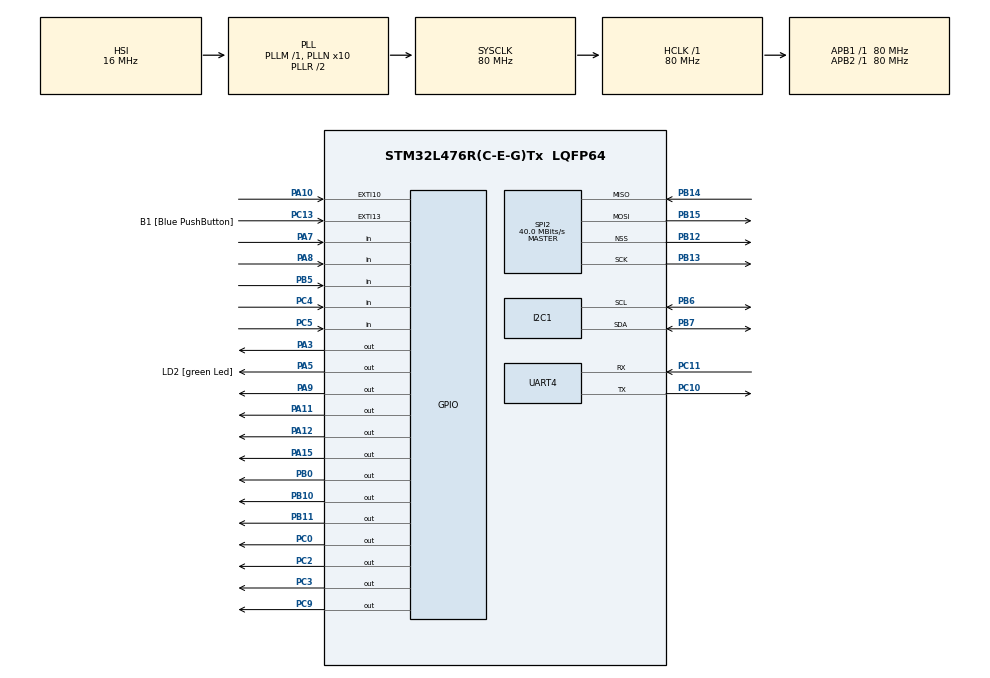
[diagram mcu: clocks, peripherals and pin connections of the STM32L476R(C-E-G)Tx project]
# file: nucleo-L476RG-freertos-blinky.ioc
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FREERTOS.Tasks01=OBC,24,4048,StartOBC,Default,NULL,Dynamic,NULL,NULL;COMMS,24,4048,StartCOMMS,Default,NULL,Dynamic,NULL,NULL;ADCS,24,4048,StartADCS,Default,NULL,Dynamic,NULL,NULL
FREERTOS.configENABLE_FPU=0
FREERTOS.configTOTAL_HEAP_SIZE=70480
FREERTOS.configUSE_NEWLIB_REENTRANT=1
I2C1.Timing=0x10909CEC
IWDG.Prescaler=IWDG_PRESCALER_256
Mcu.Family=STM32L4
Mcu.Name=STM32L476R(C-E-G)Tx
Mcu.Package=LQFP64
NVIC.PriorityGroup=NVIC_PRIORITYGROUP_4
NVIC.TIM6_DAC_IRQn=true\:15\:0\:false\:false\:true\:false\:false\:true\:true
NVIC.TimeBase=TIM6_DAC_IRQn
NVIC.TimeBaseIP=TIM6
PA10.Signal=GPXTI10
PA11.Signal=GPIO_Output
PA12.Signal=GPIO_Output
PA13\ (JTMS-SWDIO).GPIO_Label=TMS
PA13\ (JTMS-SWDIO).Mode=Serial_Wire
PA13\ (JTMS-SWDIO).Signal=SYS_JTMS-SWDIO
PA14\ (JTCK-SWCLK).GPIO_Label=TCK
PA14\ (JTCK-SWCLK).Mode=Serial_Wire
PA14\ (JTCK-SWCLK).Signal=SYS_JTCK-SWCLK
PA15\ (JTDI).Signal=GPIO_Output
PA3.Signal=GPIO_Output
PA5.GPIO_Label=LD2 [green Led]
PA5.GPIO_ModeDefaultOutputPP=GPIO_MODE_OUTPUT_PP
PA5.GPIO_PuPd=GPIO_NOPULL
PA5.GPIO_Speed=GPIO_SPEED_FREQ_LOW
PA5.Signal=GPIO_Output
PA7.Signal=GPIO_Input
PA8.Signal=GPIO_Input
PA9.Signal=GPIO_Output
PB0.Signal=GPIO_Output
PB10.Signal=GPIO_Output
PB11.Signal=GPIO_Output
PB12.Mode=NSS_Signal_Hard_Output
PB12.Signal=SPI2_NSS
PB13.Mode=Full_Duplex_Master
PB13.Signal=SPI2_SCK
PB14.Mode=Full_Duplex_Master
PB14.Signal=SPI2_MISO
PB15.Mode=Full_Duplex_Master
PB15.Signal=SPI2_MOSI
PB3\ (JTDO-TRACESWO).GPIO_Label=SWO
PB3\ (JTDO-TRACESWO).Signal=SYS_JTDO-SWO
PB5.Signal=GPIO_Input
PB6.Mode=I2C
PB6.Signal=I2C1_SCL
PB7.Mode=I2C
PB7.Signal=I2C1_SDA
PC0.Signal=GPIO_Output
PC10.Mode=Asynchronous
PC10.Signal=UART4_TX
PC11.Mode=Asynchronous
PC11.Signal=UART4_RX
PC13.GPIO_Label=B1 [Blue PushButton]
PC13.GPIO_ModeDefaultEXTI=GPIO_MODE_IT_FALLING
PC13.GPIO_PuPd=GPIO_NOPULL
PC13.Signal=GPXTI13
PC14-OSC32_IN\ (PC14).Mode=LSE-External-Oscillator
PC14-OSC32_IN\ (PC14).Signal=RCC_OSC32_IN
PC15-OSC32_OUT\ (PC15).Mode=LSE-External-Oscillator
PC15-OSC32_OUT\ (PC15).Signal=RCC_OSC32_OUT
PC2.Signal=GPIO_Output
PC3.Signal=GPIO_Output
PC4.Signal=GPIO_Input
PC5.Signal=GPIO_Input
PC9.Signal=GPIO_Output
PH0-OSC_IN\ (PH0).Signal=RCC_OSC_IN
PH1-OSC_OUT\ (PH1).Signal=RCC_OSC_OUT
ProjectManager.HeapSize=0x200
ProjectManager.StackSize=0x400
ProjectManager.TargetToolchain=STM32CubeIDE
RCC.ADCFreq_Value=64000000
RCC.AHBFreq_Value=80000000
RCC.APB1Freq_Value=80000000
RCC.APB1TimFreq_Value=80000000
RCC.APB2Freq_Value=80000000
RCC.APB2TimFreq_Value=80000000
RCC.CortexFreq_Value=80000000
RCC.HCLKFreq_Value=80000000
RCC.HSE_VALUE=8000000
RCC.HSI_VALUE=16000000
RCC.MSI_VALUE=4000000
RCC.PLLN=10
RCC.PLLSourceVirtual=RCC_PLLSOURCE_HSI
RCC.PREFETCH_ENABLE=1
RCC.SYSCLKFreq_VALUE=80000000
RCC.SYSCLKSource=RCC_SYSCLKSOURCE_PLLCLK
RCC.USBFreq_Value=64000000
RCC.VCOOutputFreq_Value=160000000
SPI2.CalculateBaudRate=40.0 MBits/s
SPI2.Direction=SPI_DIRECTION_2LINES
SPI2.Mode=SPI_MODE_MASTER
SPI2.VirtualNSS=VM_NSSHARD
SPI2.VirtualType=VM_MASTER
VP_FREERTOS_VS_CMSIS_V2.Mode=CMSIS_V2
VP_IWDG_VS_IWDG.Mode=IWDG_Activate
VP_RTC_VS_RTC_Activate.Mode=RTC_Enabled
VP_SYS_VS_tim6.Mode=TIM6
board=NUCLEO-L476RG

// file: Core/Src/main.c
/* USER CODE BEGIN Header */
/**
 ******************************************************************************
 * @file           : main.c
 * @brief          : Main program body
 ******************************************************************************
 * @attention
 *
 * Copyright (c) 2022 STMicroelectronics.
 * All rights reserved.
 *
 * This software is licensed under terms that can be found in the LICENSE file
 * in the root directory of this software component.
 * If no LICENSE file comes with this software, it is provided AS-IS.
 *
 ******************************************************************************
 */
/* USER CODE END Header */
#include "main.h"
#include "cmsis_os.h"

I2C_HandleTypeDef hi2c1;

IWDG_HandleTypeDef hiwdg;

RTC_HandleTypeDef hrtc;

SPI_HandleTypeDef hspi2;

UART_HandleTypeDef huart4;

/* Definitions for OBC */
osThreadId_t OBCHandle;
const osThreadAttr_t OBC_attributes = {
		.name = "OBC",
		.stack_size = 4048 * 4,
		.priority = (osPriority_t) osPriorityNormal,
};
/* Definitions for COMMS */
osThreadId_t COMMSHandle;
const osThreadAttr_t COMMS_attributes = {
		.name = "COMMS",
		.stack_size = 4048 * 4,
		.priority = (osPriority_t) osPriorityNormal,
};
/* Definitions for ADCS */
osThreadId_t ADCSHandle;
const osThreadAttr_t ADCS_attributes = {
		.name = "ADCS",
		.stack_size = 4048 * 4,
		.priority = (osPriority_t) osPriorityNormal,
};

void SystemClock_Config(void);
static void MX_GPIO_Init(void);
static void MX_IWDG_Init(void);
static void MX_RTC_Init(void);
static void MX_I2C1_Init(void);
static void MX_SPI2_Init(void);
static void MX_UART4_Init(void);
void StartOBC(void *argument);
void StartCOMMS(void *argument);
void StartADCS(void *argument);

int main(void)
{

	/* MCU Configuration--------------------------------------------------------*/

	/* Reset of all peripherals, Initializes the Flash interface and the Systick. */
	HAL_Init();

	/* Configure the system clock */
	SystemClock_Config();

	/* Initialize all configured peripherals */
	MX_GPIO_Init();
	MX_IWDG_Init();
	MX_RTC_Init();
	MX_I2C1_Init();
	MX_SPI2_Init();
	MX_UART4_Init();
	/* USER CODE BEGIN 2 */
	/* USER CODE BEGIN Init */
	// INITIALIZE SENSORS
	initsensors(&hi2c1);

	RTC_TimeTypeDef sTime;
	RTC_DateTypeDef sDate;

	// RTC TEST -> OKEY
	uint32_t time_rtc;
	// HumanToUnixTime(&hrtc, time_rtc);
	HAL_IWDG_Refresh(&hiwdg);
	// Write the setTime -> OKEY
	uint32_t time = 1650363908, time2;
	// UnixToHumanTime(time, &hrtc);
	// See if the SetTime and SetDate are correct
	HAL_RTC_GetTime(&hrtc, &sTime, RTC_FORMAT_BIN);
	HAL_RTC_GetDate(&hrtc, &sDate, RTC_FORMAT_BIN);

	/* USER CODE END 2 */

	/* Init scheduler */
	osKernelInitialize();

	/* Create the thread(s) */
	/* creation of OBC */
	OBCHandle = osThreadNew(StartOBC, NULL, &OBC_attributes);

	/* creation of COMMS */
	COMMSHandle = osThreadNew(StartCOMMS, NULL, &COMMS_attributes);

	/* creation of ADCS */
	ADCSHandle = osThreadNew(StartADCS, NULL, &ADCS_attributes);

	/* Start scheduler */
	osKernelStart();

	/* We should never get here as control is now taken by the scheduler */
	/* Infinite loop */
	while (1)
	{

	}
}

void SystemClock_Config(void)
{
	RCC_OscInitTypeDef RCC_OscInitStruct = {0};
	RCC_ClkInitTypeDef RCC_ClkInitStruct = {0};

	/** Configure the main internal regulator output voltage
	 */
	if (HAL_PWREx_ControlVoltageScaling(PWR_REGULATOR_VOLTAGE_SCALE1) != HAL_OK)
	{
		Error_Handler();
	}
	/** Initializes the RCC Oscillators according to the specified parameters
	 * in the RCC_OscInitTypeDef structure.
	 */
	RCC_OscInitStruct.OscillatorType = RCC_OSCILLATORTYPE_HSI|RCC_OSCILLATORTYPE_LSI;
	RCC_OscInitStruct.HSIState = RCC_HSI_ON;
	RCC_OscInitStruct.HSICalibrationValue = RCC_HSICALIBRATION_DEFAULT;
	RCC_OscInitStruct.LSIState = RCC_LSI_ON;
	RCC_OscInitStruct.PLL.PLLState = RCC_PLL_ON;
	RCC_OscInitStruct.PLL.PLLSource = RCC_PLLSOURCE_HSI;
	RCC_OscInitStruct.PLL.PLLM = 1;
	RCC_OscInitStruct.PLL.PLLN = 10;
	RCC_OscInitStruct.PLL.PLLP = RCC_PLLP_DIV7;
	RCC_OscInitStruct.PLL.PLLQ = RCC_PLLQ_DIV2;
	RCC_OscInitStruct.PLL.PLLR = RCC_PLLR_DIV2;
	if (HAL_RCC_OscConfig(&RCC_OscInitStruct) != HAL_OK)
	{
		Error_Handler();
	}
	/** Initializes the CPU, AHB and APB buses clocks
	 */
	RCC_ClkInitStruct.ClockType = RCC_CLOCKTYPE_HCLK|RCC_CLOCKTYPE_SYSCLK
			|RCC_CLOCKTYPE_PCLK1|RCC_CLOCKTYPE_PCLK2;
	RCC_ClkInitStruct.SYSCLKSource = RCC_SYSCLKSOURCE_PLLCLK;
	RCC_ClkInitStruct.AHBCLKDivider = RCC_SYSCLK_DIV1;
	RCC_ClkInitStruct.APB1CLKDivider = RCC_HCLK_DIV1;
	RCC_ClkInitStruct.APB2CLKDivider = RCC_HCLK_DIV1;

	if (HAL_RCC_ClockConfig(&RCC_ClkInitStruct, FLASH_LATENCY_4) != HAL_OK)
	{
		Error_Handler();
	}
}

static void MX_I2C1_Init(void)
{

	hi2c1.Instance = I2C1;
	hi2c1.Init.Timing = 0x10909CEC;
	hi2c1.Init.OwnAddress1 = 0;
	hi2c1.Init.AddressingMode = I2C_ADDRESSINGMODE_7BIT;
	hi2c1.Init.DualAddressMode = I2C_DUALADDRESS_DISABLE;
	hi2c1.Init.OwnAddress2 = 0;
	hi2c1.Init.OwnAddress2Masks = I2C_OA2_NOMASK;
	hi2c1.Init.GeneralCallMode = I2C_GENERALCALL_DISABLE;
	hi2c1.Init.NoStretchMode = I2C_NOSTRETCH_DISABLE;
	if (HAL_I2C_Init(&hi2c1) != HAL_OK)
	{
		Error_Handler();
	}
	/** Configure Analogue filter
	 */
	if (HAL_I2CEx_ConfigAnalogFilter(&hi2c1, I2C_ANALOGFILTER_ENABLE) != HAL_OK)
	{
		Error_Handler();
	}
	/** Configure Digital filter
	 */
	if (HAL_I2CEx_ConfigDigitalFilter(&hi2c1, 0) != HAL_OK)
	{
		Error_Handler();
	}

}

static void MX_IWDG_Init(void)
{

	hiwdg.Instance = IWDG;
	hiwdg.Init.Prescaler = IWDG_PRESCALER_256;
	hiwdg.Init.Window = 4095;
	hiwdg.Init.Reload = 4095;
	if (HAL_IWDG_Init(&hiwdg) != HAL_OK)
	{
		Error_Handler();
	}

}

static void MX_RTC_Init(void)
{

	/** Initialize RTC Only
	 */
	hrtc.Instance = RTC;
	hrtc.Init.HourFormat = RTC_HOURFORMAT_24;
	hrtc.Init.AsynchPrediv = 127;
	hrtc.Init.SynchPrediv = 255;
	hrtc.Init.OutPut = RTC_OUTPUT_DISABLE;
	hrtc.Init.OutPutRemap = RTC_OUTPUT_REMAP_NONE;
	hrtc.Init.OutPutPolarity = RTC_OUTPUT_POLARITY_HIGH;
	hrtc.Init.OutPutType = RTC_OUTPUT_TYPE_OPENDRAIN;
	if (HAL_RTC_Init(&hrtc) != HAL_OK)
	{
		Error_Handler();
	}

}

static void MX_SPI2_Init(void)
{

	/* SPI2 parameter configuration*/
	hspi2.Instance = SPI2;
	hspi2.Init.Mode = SPI_MODE_MASTER;
	hspi2.Init.Direction = SPI_DIRECTION_2LINES;
	hspi2.Init.DataSize = SPI_DATASIZE_4BIT;
	hspi2.Init.CLKPolarity = SPI_POLARITY_LOW;
	hspi2.Init.CLKPhase = SPI_PHASE_1EDGE;
	hspi2.Init.NSS = SPI_NSS_HARD_OUTPUT;
	hspi2.Init.BaudRatePrescaler = SPI_BAUDRATEPRESCALER_2;
	hspi2.Init.FirstBit = SPI_FIRSTBIT_MSB;
	hspi2.Init.TIMode = SPI_TIMODE_DISABLE;
	hspi2.Init.CRCCalculation = SPI_CRCCALCULATION_DISABLE;
	hspi2.Init.CRCPolynomial = 7;
	hspi2.Init.CRCLength = SPI_CRC_LENGTH_DATASIZE;
	hspi2.Init.NSSPMode = SPI_NSS_PULSE_ENABLE;
	if (HAL_SPI_Init(&hspi2) != HAL_OK)
	{
		Error_Handler();
	}

}

static void MX_UART4_Init(void)
{

	huart4.Instance = UART4;
	huart4.Init.BaudRate = 115200;
	huart4.Init.WordLength = UART_WORDLENGTH_8B;
	huart4.Init.StopBits = UART_STOPBITS_1;
	huart4.Init.Parity = UART_PARITY_NONE;
	huart4.Init.Mode = UART_MODE_TX_RX;
	huart4.Init.HwFlowCtl = UART_HWCONTROL_NONE;
	huart4.Init.OverSampling = UART_OVERSAMPLING_16;
	huart4.Init.OneBitSampling = UART_ONE_BIT_SAMPLE_DISABLE;
	huart4.AdvancedInit.AdvFeatureInit = UART_ADVFEATURE_NO_INIT;
	if (HAL_UART_Init(&huart4) != HAL_OK)
	{
		Error_Handler();
	}

}

static void MX_GPIO_Init(void)
{
	GPIO_InitTypeDef GPIO_InitStruct = {0};

	/* GPIO Ports Clock Enable */
	__HAL_RCC_GPIOC_CLK_ENABLE();
	__HAL_RCC_GPIOH_CLK_ENABLE();
	__HAL_RCC_GPIOA_CLK_ENABLE();
	__HAL_RCC_GPIOB_CLK_ENABLE();

	/*Configure GPIO pin Output Level */
	HAL_GPIO_WritePin(GPIOC, GPIO_PIN_0|GPIO_PIN_2|GPIO_PIN_3|GPIO_PIN_9, GPIO_PIN_RESET);

	/*Configure GPIO pin Output Level */
	HAL_GPIO_WritePin(GPIOA, GPIO_PIN_3|LD2_Pin|GPIO_PIN_9|GPIO_PIN_11
			|GPIO_PIN_12|GPIO_PIN_15, GPIO_PIN_RESET);

	/*Configure GPIO pin Output Level */
	HAL_GPIO_WritePin(GPIOB, GPIO_PIN_0|GPIO_PIN_10|GPIO_PIN_11, GPIO_PIN_RESET);

	/*Configure GPIO pin : B1_Pin */
	GPIO_InitStruct.Pin = B1_Pin;
	GPIO_InitStruct.Mode = GPIO_MODE_IT_FALLING;
	GPIO_InitStruct.Pull = GPIO_NOPULL;
	HAL_GPIO_Init(B1_GPIO_Port, &GPIO_InitStruct);

	/*Configure GPIO pins : PC0 PC2 PC3 PC9 */
	GPIO_InitStruct.Pin = GPIO_PIN_0|GPIO_PIN_2|GPIO_PIN_3|GPIO_PIN_9;
	GPIO_InitStruct.Mode = GPIO_MODE_OUTPUT_PP;
	GPIO_InitStruct.Pull = GPIO_NOPULL;
	GPIO_InitStruct.Speed = GPIO_SPEED_FREQ_LOW;
	HAL_GPIO_Init(GPIOC, &GPIO_InitStruct);

	/*Configure GPIO pins : PA3 LD2_Pin PA9 PA11
                           PA12 PA15 */
	GPIO_InitStruct.Pin = GPIO_PIN_3|LD2_Pin|GPIO_PIN_9|GPIO_PIN_11
			|GPIO_PIN_12|GPIO_PIN_15;
	GPIO_InitStruct.Mode = GPIO_MODE_OUTPUT_PP;
	GPIO_InitStruct.Pull = GPIO_NOPULL;
	GPIO_InitStruct.Speed = GPIO_SPEED_FREQ_LOW;
	HAL_GPIO_Init(GPIOA, &GPIO_InitStruct);

	/*Configure GPIO pins : PA7 PA8 */
	GPIO_InitStruct.Pin = GPIO_PIN_7|GPIO_PIN_8;
	GPIO_InitStruct.Mode = GPIO_MODE_INPUT;
	GPIO_InitStruct.Pull = GPIO_NOPULL;
	HAL_GPIO_Init(GPIOA, &GPIO_InitStruct);

	/*Configure GPIO pins : PC4 PC5 */
	GPIO_InitStruct.Pin = GPIO_PIN_4|GPIO_PIN_5;
	GPIO_InitStruct.Mode = GPIO_MODE_INPUT;
	GPIO_InitStruct.Pull = GPIO_NOPULL;
	HAL_GPIO_Init(GPIOC, &GPIO_InitStruct);

	/*Configure GPIO pins : PB0 PB10 PB11 */
	GPIO_InitStruct.Pin = GPIO_PIN_0|GPIO_PIN_10|GPIO_PIN_11;
	GPIO_InitStruct.Mode = GPIO_MODE_OUTPUT_PP;
	GPIO_InitStruct.Pull = GPIO_NOPULL;
	GPIO_InitStruct.Speed = GPIO_SPEED_FREQ_LOW;
	HAL_GPIO_Init(GPIOB, &GPIO_InitStruct);

	/*Configure GPIO pin : PA10 */
	GPIO_InitStruct.Pin = GPIO_PIN_10;
	GPIO_InitStruct.Mode = GPIO_MODE_IT_RISING;
	GPIO_InitStruct.Pull = GPIO_NOPULL;
	HAL_GPIO_Init(GPIOA, &GPIO_InitStruct);

	/*Configure GPIO pin : PB5 */
	GPIO_InitStruct.Pin = GPIO_PIN_5;
	GPIO_InitStruct.Mode = GPIO_MODE_INPUT;
	GPIO_InitStruct.Pull = GPIO_NOPULL;
	HAL_GPIO_Init(GPIOB, &GPIO_InitStruct);

}

void StartOBC(void *argument)
{
	/* USER CODE BEGIN 5 */
	/* Infinite loop */
	for (;;) {
		obc_thread(COMMSHandle, ADCSHandle);
		//Write_Flash(CURRENT_STATE_ADDR,&prova,1);
		osDelay(2000);
		osThreadFlagsSet(COMMSHandle, 2);
		osStatus comms = osThreadGetState(COMMSHandle);
	}
	//In case we accidentally exit from task loop
	osThreadTerminate(NULL);

	/* USER CODE END 5 */
}

void StartCOMMS(void *argument)
{
	/* USER CODE BEGIN StartCOMMS */
	/* Infinite loop */
	while(1) {
		osDelay(1);
		uint8_t comms = 9;
		uint32_t receive;
		receive = osThreadFlagsWait(2, osFlagsWaitAny, osWaitForever);
	}
	//In case we accidentally exit from task loop
	osThreadTerminate(NULL);
	/* USER CODE END StartCOMMS */
}

void StartADCS(void *argument)
{
	for (;;) {
		osDelay(1);
	}
}

void HAL_TIM_PeriodElapsedCallback(TIM_HandleTypeDef *htim)
{
	if (htim->Instance == TIM6) {
		HAL_IncTick();
	}
}

void Error_Handler(void)
{
	__disable_irq();
	while (1) {
	}
}
